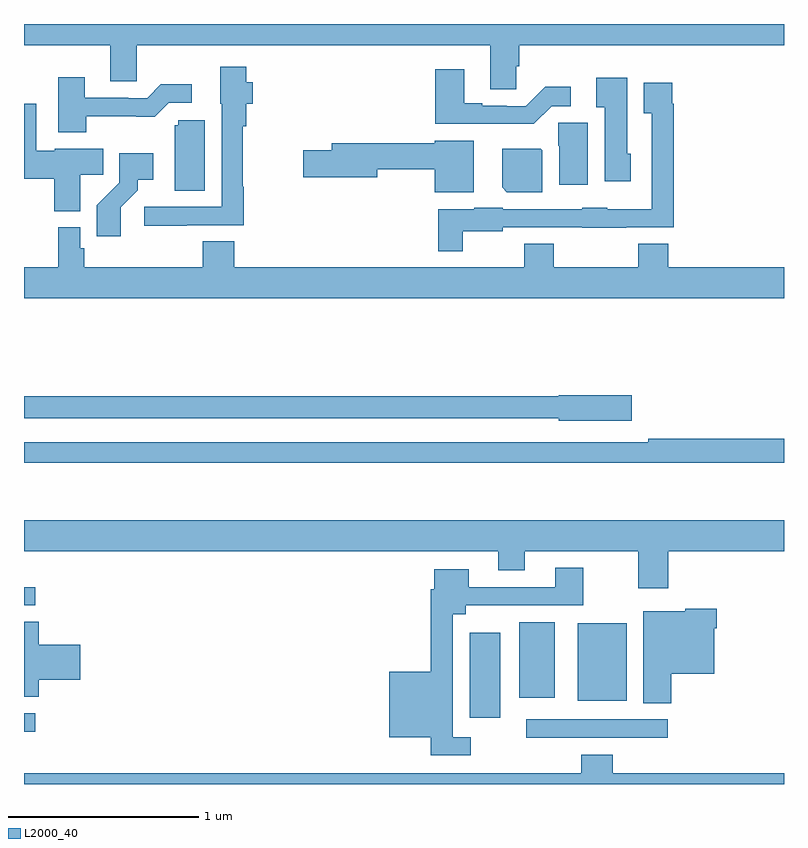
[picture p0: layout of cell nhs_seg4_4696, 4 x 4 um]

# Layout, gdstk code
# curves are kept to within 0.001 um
import gdstk
lib = gdstk.Library(unit=1e-6, precision=1e-09)
def R(c, l, rs):  # rectangles x0, y0, x1, y1
    for r in rs: c.add(gdstk.rectangle(r[:2], r[2:], *l))
def P(c, l, *ps):  # polygons
    for p in ps: c.add(gdstk.Polygon(p, *l))
L2000_40 = (2000, 40)

nhs_seg4_4696 = lib.new_cell('nhs_seg4_4696')
R(nhs_seg4_4696, L2000_40, [(365.643,825.144,366.388,825.24), (363,825.175,363.058,825.273), (365.345,825.249,365.506,825.697), (365.915,825.338,366.172,825.745), (365.606,825.353,365.794,825.751), (363,825.84,363.058,825.936)])
P(nhs_seg4_4696, L2000_40, [(365.592,828.678),(365.606,828.678),(365.606,828.788),(367,828.788),(367,828.9),(363,828.9),(363,828.788),(363.455,828.788),(363.455,828.598),(363.594,828.598),(363.594,828.788),(365.453,828.788),(365.453,828.556),(365.592,828.556)],
  [(363.857,827.841),(364.157,827.841),(364.157,828.044),(364.15,828.044),(364.15,828.362),(364.17,828.362),(364.17,828.48),(364.205,828.48),(364.205,828.594),(364.17,828.594),(364.17,828.676),(364.034,828.676),(364.034,828.48),(364.041,828.48),(364.041,827.937),(363.633,827.937),(363.633,827.839),(363.857,827.839)],
  [(365.778,828.468),(365.878,828.468),(365.878,828.571),(365.743,828.571),(365.64,828.468),(365.54,828.468),(365.54,828.471),(365.413,828.471),(365.413,828.484),(365.317,828.484),(365.317,828.661),(365.165,828.661),(365.165,828.374),(365.683,828.374)],
  [(363.327,828.414),(363.689,828.413),(363.762,828.486),(363.883,828.486),(363.883,828.583),(363.721,828.583),(363.648,828.51),(363.548,828.51),(363.548,828.513),(363.319,828.513),(363.319,828.619),(363.179,828.619),(363.179,828.329),(363.327,828.329)],
  [(366.193,828.216),(366.175,828.216),(366.175,828.616),(366.011,828.616),(366.011,828.462),(366.056,828.462),(366.056,828.072),(366.193,828.072)],
  [(365.308,827.81),(365.52,827.81),(365.52,827.829),(365.937,827.829),(365.937,827.828),(366.169,827.828),(366.169,827.829),(366.419,827.829),(366.419,828.479),(366.412,828.479),(366.412,828.592),(366.263,828.592),(366.263,828.431),(366.303,828.431),(366.303,827.926),(366.069,827.926),(366.069,827.932),(365.937,827.932),(365.937,827.925),(365.52,827.925),(365.52,827.932),(365.37,827.932),(365.37,827.926),(365.179,827.926),(365.179,827.705),(365.308,827.705)],
  [(363.295,828.106),(363.416,828.106),(363.416,828.244),(363.162,828.244),(363.162,828.232),(363.064,828.232),(363.064,828.481),(363,828.481),(363,828.085),(363.158,828.085),(363.158,827.915),(363.295,827.915)],
  [(363.952,828.393),(363.813,828.393),(363.813,828.366),(363.794,828.366),(363.794,828.022),(363.952,828.022)],
  [(365.968,828.381),(365.812,828.381),(365.812,828.258),(365.816,828.258),(365.816,828.054),(365.968,828.054)],
  [(365.368,828.286),(365.162,828.286),(365.162,828.272),(364.619,828.272),(364.619,828.236),(364.47,828.236),(364.47,828.094),(364.858,828.094),(364.858,828.136),(365.162,828.136),(365.162,828.014),(365.368,828.014)],
  [(365.728,828.236),(365.72,828.244),(365.516,828.244),(365.516,828.04),(365.542,828.014),(365.728,828.014)],
  [(363.508,827.935),(363.598,828.025),(363.598,828.08),(363.679,828.08),(363.679,828.22),(363.501,828.22),(363.501,828.065),(363.382,827.946),(363.382,827.784),(363.508,827.784)],
  [(367,827.62),(366.392,827.62),(366.392,827.744),(366.232,827.744),(366.232,827.62),(365.787,827.62),(365.787,827.744),(365.632,827.744),(365.632,827.62),(364.106,827.62),(364.106,827.756),(363.941,827.756),(363.941,827.62),(363.317,827.62),(363.317,827.721),(363.297,827.721),(363.297,827.83),(363.181,827.83),(363.181,827.62),(363,827.62),(363,827.456),(367,827.456)],
  [(366.199,826.946),(365.814,826.946),(365.814,826.94),(363,826.94),(363,826.824),(365.814,826.824),(365.814,826.811),(366.199,826.811)],
  [(367,826.718),(366.286,826.718),(366.286,826.698),(363,826.698),(363,826.59),(367,826.59)],
  [(366.392,826.124),(367,826.124),(367,826.288),(363,826.288),(363,826.124),(365.495,826.124),(365.495,826.025),(365.635,826.025),(365.635,826.124),(366.232,826.124),(366.232,825.93),(366.392,825.93)],
  [(365.35,825.147),(365.257,825.147),(365.257,825.386),(365.256,825.386),(365.256,825.794),(365.326,825.794),(365.326,825.84),(365.943,825.84),(365.943,826.039),(365.795,826.039),(365.795,825.936),(365.341,825.936),(365.341,826.03),(365.159,826.03),(365.159,825.926),(365.14,825.926),(365.14,825.49),(364.922,825.49),(364.922,825.146),(365.14,825.146),(365.14,825.051),(365.35,825.051)],
  [(366.407,825.479),(366.634,825.479),(366.634,825.719),(366.647,825.719),(366.647,825.823),(366.48,825.823),(366.48,825.808),(366.26,825.808),(366.26,825.325),(366.407,825.325)],
  [(363.077,825.449),(363.295,825.449),(363.295,825.632),(363.077,825.632),(363.077,825.755),(363,825.755),(363,825.358),(363.077,825.358)],
  [(367,824.956),(366.098,824.956),(366.098,825.055),(365.933,825.055),(365.933,824.956),(363,824.956),(363,824.9),(367,824.9)])

lib.write_gds('nhs_seg4_4696.gds')
